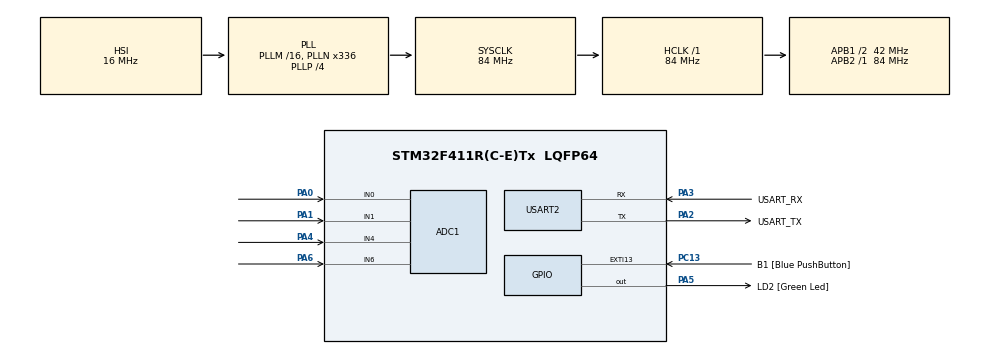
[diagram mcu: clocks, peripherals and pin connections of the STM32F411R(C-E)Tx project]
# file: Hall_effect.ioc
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ADC1.Channel-3\#ChannelRegularConversion=ADC_CHANNEL_0
ADC1.Channel-4\#ChannelRegularConversion=ADC_CHANNEL_1
ADC1.Channel-5\#ChannelRegularConversion=ADC_CHANNEL_4
ADC1.Channel-6\#ChannelRegularConversion=ADC_CHANNEL_6
ADC1.ContinuousConvMode=ENABLE
ADC1.DMAContinuousRequests=ENABLE
ADC1.NbrOfConversion=4
ADC1.NbrOfConversionFlag=1
ADC1.Rank-3\#ChannelRegularConversion=1
ADC1.Rank-4\#ChannelRegularConversion=2
ADC1.Rank-5\#ChannelRegularConversion=3
ADC1.Rank-6\#ChannelRegularConversion=4
ADC1.SamplingTime-3\#ChannelRegularConversion=ADC_SAMPLETIME_84CYCLES
ADC1.SamplingTime-4\#ChannelRegularConversion=ADC_SAMPLETIME_84CYCLES
ADC1.SamplingTime-5\#ChannelRegularConversion=ADC_SAMPLETIME_84CYCLES
ADC1.SamplingTime-6\#ChannelRegularConversion=ADC_SAMPLETIME_84CYCLES
ADC1.ScanConvMode=ENABLE
ADC1.master=1
Dma.ADC1.0.Direction=DMA_PERIPH_TO_MEMORY
Dma.ADC1.0.FIFOMode=DMA_FIFOMODE_DISABLE
Dma.ADC1.0.Instance=DMA2_Stream0
Dma.ADC1.0.MemDataAlignment=DMA_MDATAALIGN_HALFWORD
Dma.ADC1.0.MemInc=DMA_MINC_ENABLE
Dma.ADC1.0.Mode=DMA_CIRCULAR
Dma.ADC1.0.PeriphDataAlignment=DMA_PDATAALIGN_HALFWORD
Dma.ADC1.0.PeriphInc=DMA_PINC_DISABLE
Dma.ADC1.0.Priority=DMA_PRIORITY_LOW
Dma.Request0=ADC1
Mcu.Family=STM32F4
Mcu.Name=STM32F411R(C-E)Tx
Mcu.Package=LQFP64
NVIC.DMA2_Stream0_IRQn=true\:0\:0\:false\:false\:true\:false\:true\:true
NVIC.PriorityGroup=NVIC_PRIORITYGROUP_0
PA0-WKUP.Signal=ADCx_IN0
PA1.Signal=ADCx_IN1
PA13.GPIO_Label=TMS
PA13.Mode=Serial_Wire
PA13.Signal=SYS_JTMS-SWDIO
PA14.GPIO_Label=TCK
PA14.Mode=Serial_Wire
PA14.Signal=SYS_JTCK-SWCLK
PA2.GPIO_Label=USART_TX
PA2.Mode=Asynchronous
PA2.Signal=USART2_TX
PA3.GPIO_Label=USART_RX
PA3.Mode=Asynchronous
PA3.Signal=USART2_RX
PA4.Signal=ADCx_IN4
PA5.GPIO_Label=LD2 [Green Led]
PA5.Signal=GPIO_Output
PA6.Signal=ADCx_IN6
PB3.GPIO_Label=SWO
PB3.Signal=SYS_JTDO-SWO
PC13-ANTI_TAMP.GPIO_Label=B1 [Blue PushButton]
PC13-ANTI_TAMP.GPIO_ModeDefaultEXTI=GPIO_MODE_IT_FALLING
PC13-ANTI_TAMP.Signal=GPXTI13
PC14-OSC32_IN.Mode=LSE-External-Oscillator
PC14-OSC32_IN.Signal=RCC_OSC32_IN
PC15-OSC32_OUT.Mode=LSE-External-Oscillator
PC15-OSC32_OUT.Signal=RCC_OSC32_OUT
PH0\ -\ OSC_IN.Mode=HSE-External-Clock-Source
PH0\ -\ OSC_IN.Signal=RCC_OSC_IN
PH1\ -\ OSC_OUT.Mode=HSE-External-Clock-Source
PH1\ -\ OSC_OUT.Signal=RCC_OSC_OUT
ProjectManager.HeapSize=0x200
ProjectManager.StackSize=0x400
ProjectManager.TargetToolchain=STM32CubeIDE
RCC.48MHZClocksFreq_Value=84000000
RCC.AHBFreq_Value=84000000
RCC.APB1CLKDivider=RCC_HCLK_DIV2
RCC.APB1Freq_Value=42000000
RCC.APB1TimFreq_Value=84000000
RCC.APB2Freq_Value=84000000
RCC.APB2TimFreq_Value=84000000
RCC.CortexFreq_Value=84000000
RCC.FLatency-AdvancedSettings=FLASH_LATENCY_2
RCC.HCLKFreq_Value=84000000
RCC.HSE_VALUE=8000000
RCC.HSI_VALUE=16000000
RCC.PLLN=336
RCC.PLLP=RCC_PLLP_DIV4
RCC.SYSCLKFreq_VALUE=84000000
RCC.SYSCLKSource=RCC_SYSCLKSOURCE_PLLCLK
RCC.VCOOutputFreq_Value=336000000
SH.ADCx_IN0.0=ADC1_IN0,IN0
SH.ADCx_IN1.0=ADC1_IN1,IN1
SH.ADCx_IN4.0=ADC1_IN4,IN4
SH.ADCx_IN6.0=ADC1_IN6,IN6
USART2.VirtualMode=VM_ASYNC
board=NUCLEO-F411RE

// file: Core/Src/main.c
/* USER CODE BEGIN Header */
/**
  ******************************************************************************
  * @file           : main.c
  * @brief          : Main program body
  ******************************************************************************
  * @attention
  *
  * Copyright (c) 2026 STMicroelectronics.
  * All rights reserved.
  *
  * This software is licensed under terms that can be found in the LICENSE file
  * in the root directory of this software component.
  * If no LICENSE file comes with this software, it is provided AS-IS.
  *
  ******************************************************************************
  */
/* USER CODE END Header */
#include "main.h"

/* USER CODE BEGIN Includes */
#include <stdio.h>
/* USER CODE END Includes */

ADC_HandleTypeDef hadc1;
DMA_HandleTypeDef hdma_adc1;

UART_HandleTypeDef huart2;

/* USER CODE BEGIN PV */
uint16_t adc_buf[4];  // DMA will fill this with your 4 sensor readings
/* USER CODE END PV */

void SystemClock_Config(void);
static void MX_GPIO_Init(void);
static void MX_DMA_Init(void);
static void MX_USART2_UART_Init(void);
static void MX_ADC1_Init(void);

/* USER CODE BEGIN 0 */
// called by printf and sends char through UART2 to serial monitor console
int _write(int file, char *ptr, int len) {
    HAL_UART_Transmit(&huart2, (uint8_t *)ptr, len, HAL_MAX_DELAY);
    return len;
}
/* USER CODE END 0 */

int main(void)
{

  /* MCU Configuration--------------------------------------------------------*/

  /* Reset of all peripherals, Initializes the Flash interface and the Systick. */
  HAL_Init();

  /* Configure the system clock */
  SystemClock_Config();

  /* Initialize all configured peripherals */
  MX_GPIO_Init();
  MX_DMA_Init();
  MX_USART2_UART_Init();
  MX_ADC1_Init();
  /* USER CODE BEGIN 2 */
  HAL_ADC_Start_DMA(&hadc1, (uint32_t *)adc_buf, 4);
  /* USER CODE END 2 */

  /* Infinite loop */
  while (1)
  {

    /* USER CODE BEGIN 3 */
	  /*adc_buf[idx] holds the raw value sensor output, multiplying by 3.3v and
	   dividing by 4096-1 (2^12) converts it to voltage*/
	  float voltage0 = adc_buf[0] * 3.3f / 4095.0f; // hall effect sensor 1
	  float voltage1 = adc_buf[1] * 3.3f / 4095.0f; // hall effect sensor 2
	  float voltage2 = adc_buf[2] * 3.3f / 4095.0f; // hall effect sensor 3
	  float voltage3 = adc_buf[3] * 3.3f / 4095.0f; // hall effect sensor 4

	  /* takes calculated voltage and offsets it by 1.65 (since neutral magnetic field is
	   half of vcc (3.3V); .001254 is from sens from datasheet --> datasheet tested at 5V
	   and got 1.9 mV/Gauss but we're using 3.3V which is 66% of 5V
	   so sens drops to 66% 1.9 × 0.66 = 1.254mV.*/
	  float gauss0 = (voltage0 - 1.65f) / 0.001254f;
	  float gauss1 = (voltage1 - 1.65f) / 0.001254f;
	  float gauss2 = (voltage2 - 1.65f) / 0.001254f;
	  float gauss3 = (voltage3 - 1.65f) / 0.001254f;

	  //printf calls _write w/ UART
	  printf("Raw: %4d V %4d V %4d V %4d V| Gauss: %7.1f %7.1f %7.1f %7.1f\r\n",
	         adc_buf[0], adc_buf[1], adc_buf[2], adc_buf[3],
	         gauss0, gauss1, gauss2, gauss3);
	  //4 readings per second --> change if u want more readings printed lower delay
	  HAL_Delay(250);
  }
  /* USER CODE END 3 */
}

void SystemClock_Config(void)
{
  RCC_OscInitTypeDef RCC_OscInitStruct = {0};
  RCC_ClkInitTypeDef RCC_ClkInitStruct = {0};

  /** Configure the main internal regulator output voltage
  */
  __HAL_RCC_PWR_CLK_ENABLE();
  __HAL_PWR_VOLTAGESCALING_CONFIG(PWR_REGULATOR_VOLTAGE_SCALE1);

  /** Initializes the RCC Oscillators according to the specified parameters
  * in the RCC_OscInitTypeDef structure.
  */
  RCC_OscInitStruct.OscillatorType = RCC_OSCILLATORTYPE_HSI;
  RCC_OscInitStruct.HSIState = RCC_HSI_ON;
  RCC_OscInitStruct.HSICalibrationValue = RCC_HSICALIBRATION_DEFAULT;
  RCC_OscInitStruct.PLL.PLLState = RCC_PLL_ON;
  RCC_OscInitStruct.PLL.PLLSource = RCC_PLLSOURCE_HSI;
  RCC_OscInitStruct.PLL.PLLM = 16;
  RCC_OscInitStruct.PLL.PLLN = 336;
  RCC_OscInitStruct.PLL.PLLP = RCC_PLLP_DIV4;
  RCC_OscInitStruct.PLL.PLLQ = 4;
  if (HAL_RCC_OscConfig(&RCC_OscInitStruct) != HAL_OK)
  {
    Error_Handler();
  }

  /** Initializes the CPU, AHB and APB buses clocks
  */
  RCC_ClkInitStruct.ClockType = RCC_CLOCKTYPE_HCLK|RCC_CLOCKTYPE_SYSCLK
                              |RCC_CLOCKTYPE_PCLK1|RCC_CLOCKTYPE_PCLK2;
  RCC_ClkInitStruct.SYSCLKSource = RCC_SYSCLKSOURCE_PLLCLK;
  RCC_ClkInitStruct.AHBCLKDivider = RCC_SYSCLK_DIV1;
  RCC_ClkInitStruct.APB1CLKDivider = RCC_HCLK_DIV2;
  RCC_ClkInitStruct.APB2CLKDivider = RCC_HCLK_DIV1;

  if (HAL_RCC_ClockConfig(&RCC_ClkInitStruct, FLASH_LATENCY_2) != HAL_OK)
  {
    Error_Handler();
  }
}

static void MX_ADC1_Init(void)
{

  ADC_ChannelConfTypeDef sConfig = {0};

  /** Configure the global features of the ADC (Clock, Resolution, Data Alignment and number of conversion)
  */
  hadc1.Instance = ADC1;
  hadc1.Init.ClockPrescaler = ADC_CLOCK_SYNC_PCLK_DIV4;
  hadc1.Init.Resolution = ADC_RESOLUTION_12B;
  hadc1.Init.ScanConvMode = ENABLE;
  hadc1.Init.ContinuousConvMode = ENABLE;
  hadc1.Init.DiscontinuousConvMode = DISABLE;
  hadc1.Init.ExternalTrigConvEdge = ADC_EXTERNALTRIGCONVEDGE_NONE;
  hadc1.Init.ExternalTrigConv = ADC_SOFTWARE_START;
  hadc1.Init.DataAlign = ADC_DATAALIGN_RIGHT;
  hadc1.Init.NbrOfConversion = 4;
  hadc1.Init.DMAContinuousRequests = ENABLE;
  hadc1.Init.EOCSelection = ADC_EOC_SINGLE_CONV;
  if (HAL_ADC_Init(&hadc1) != HAL_OK)
  {
    Error_Handler();
  }

  /** Configure for the selected ADC regular channel its corresponding rank in the sequencer and its sample time.
  */
  sConfig.Channel = ADC_CHANNEL_0;
  sConfig.Rank = 1;
  sConfig.SamplingTime = ADC_SAMPLETIME_84CYCLES;
  if (HAL_ADC_ConfigChannel(&hadc1, &sConfig) != HAL_OK)
  {
    Error_Handler();
  }

  /** Configure for the selected ADC regular channel its corresponding rank in the sequencer and its sample time.
  */
  sConfig.Channel = ADC_CHANNEL_1;
  sConfig.Rank = 2;
  if (HAL_ADC_ConfigChannel(&hadc1, &sConfig) != HAL_OK)
  {
    Error_Handler();
  }

  /** Configure for the selected ADC regular channel its corresponding rank in the sequencer and its sample time.
  */
  sConfig.Channel = ADC_CHANNEL_4;
  sConfig.Rank = 3;
  if (HAL_ADC_ConfigChannel(&hadc1, &sConfig) != HAL_OK)
  {
    Error_Handler();
  }

  /** Configure for the selected ADC regular channel its corresponding rank in the sequencer and its sample time.
  */
  sConfig.Channel = ADC_CHANNEL_6;
  sConfig.Rank = 4;
  if (HAL_ADC_ConfigChannel(&hadc1, &sConfig) != HAL_OK)
  {
    Error_Handler();
  }

}

static void MX_USART2_UART_Init(void)
{

  huart2.Instance = USART2;
  huart2.Init.BaudRate = 115200;
  huart2.Init.WordLength = UART_WORDLENGTH_8B;
  huart2.Init.StopBits = UART_STOPBITS_1;
  huart2.Init.Parity = UART_PARITY_NONE;
  huart2.Init.Mode = UART_MODE_TX_RX;
  huart2.Init.HwFlowCtl = UART_HWCONTROL_NONE;
  huart2.Init.OverSampling = UART_OVERSAMPLING_16;
  if (HAL_UART_Init(&huart2) != HAL_OK)
  {
    Error_Handler();
  }

}

static void MX_DMA_Init(void)
{

  /* DMA controller clock enable */
  __HAL_RCC_DMA2_CLK_ENABLE();

  /* DMA interrupt init */
  /* DMA2_Stream0_IRQn interrupt configuration */
  HAL_NVIC_SetPriority(DMA2_Stream0_IRQn, 0, 0);
  HAL_NVIC_EnableIRQ(DMA2_Stream0_IRQn);

}

static void MX_GPIO_Init(void)
{
  GPIO_InitTypeDef GPIO_InitStruct = {0};

  /* GPIO Ports Clock Enable */
  __HAL_RCC_GPIOC_CLK_ENABLE();
  __HAL_RCC_GPIOH_CLK_ENABLE();
  __HAL_RCC_GPIOA_CLK_ENABLE();
  __HAL_RCC_GPIOB_CLK_ENABLE();

  /*Configure GPIO pin Output Level */
  HAL_GPIO_WritePin(LD2_GPIO_Port, LD2_Pin, GPIO_PIN_RESET);

  /*Configure GPIO pin : B1_Pin */
  GPIO_InitStruct.Pin = B1_Pin;
  GPIO_InitStruct.Mode = GPIO_MODE_IT_FALLING;
  GPIO_InitStruct.Pull = GPIO_NOPULL;
  HAL_GPIO_Init(B1_GPIO_Port, &GPIO_InitStruct);

  /*Configure GPIO pin : LD2_Pin */
  GPIO_InitStruct.Pin = LD2_Pin;
  GPIO_InitStruct.Mode = GPIO_MODE_OUTPUT_PP;
  GPIO_InitStruct.Pull = GPIO_NOPULL;
  GPIO_InitStruct.Speed = GPIO_SPEED_FREQ_LOW;
  HAL_GPIO_Init(LD2_GPIO_Port, &GPIO_InitStruct);

}

void Error_Handler(void)
{
  __disable_irq();
  while (1)
  {
  }
}
